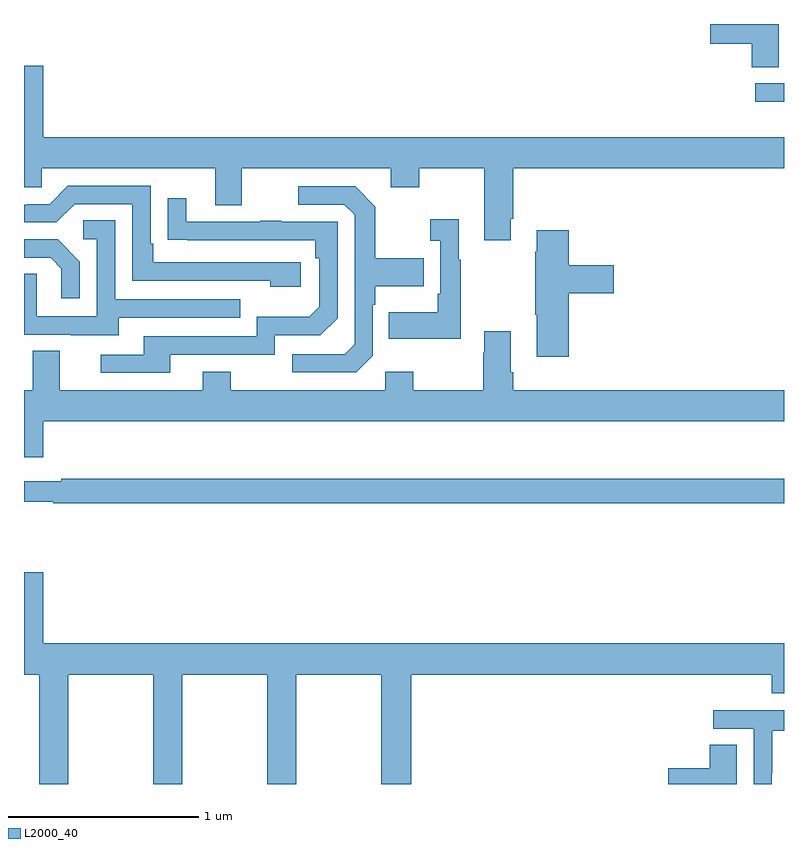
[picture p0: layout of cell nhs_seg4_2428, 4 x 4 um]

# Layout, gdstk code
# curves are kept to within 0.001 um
import gdstk
lib = gdstk.Library(unit=1e-6, precision=1e-09)
def R(c, l, rs):  # rectangles x0, y0, x1, y1
    for r in rs: c.add(gdstk.rectangle(r[:2], r[2:], *l))
def P(c, l, *ps):  # polygons
    for p in ps: c.add(gdstk.Polygon(p, *l))
L2000_40 = (2000, 40)

nhs_seg4_2428 = lib.new_cell('nhs_seg4_2428')
R(nhs_seg4_2428, L2000_40, [(240.849,810.492,241,810.588)])
P(nhs_seg4_2428, L2000_40, [(240.973,810.9),(240.612,810.9),(240.612,810.797),(240.83,810.797),(240.83,810.673),(240.973,810.673)],
  [(239.563,809.875),(239.576,809.875),(239.576,810.14),(241,810.14),(241,810.304),(237.1,810.304),(237.1,810.679),(237,810.679),(237,810.042),(237.093,810.042),(237.093,810.14),(238.007,810.14),(238.007,809.946),(238.147,809.946),(238.147,810.14),(238.931,810.14),(238.931,810.041),(239.079,810.041),(239.079,810.14),(239.423,810.14),(239.423,809.763),(239.563,809.763)],
  [(238.456,809.646),(237.679,809.646),(237.679,809.743),(237.666,809.743),(237.666,810.048),(237.231,810.048),(237.135,809.952),(237.017,809.952),(237.017,809.949),(237,809.949),(237,809.856),(237.171,809.856),(237.267,809.952),(237.57,809.952),(237.57,809.55),(238.295,809.55),(238.295,809.516),(238.456,809.516)],
  [(238.836,809.154),(238.836,809.423),(238.849,809.423),(238.849,809.519),(239.105,809.519),(239.105,809.667),(238.849,809.667),(238.849,809.939),(238.743,810.045),(238.443,810.045),(238.443,809.949),(238.686,809.949),(238.74,809.895),(238.74,809.214),(238.689,809.163),(238.413,809.163),(238.413,809.067),(238.749,809.067)],
  [(237.769,809.16),(238.32,809.16),(238.32,809.262),(238.56,809.262),(238.65,809.352),(238.65,809.859),(238.355,809.859),(238.355,809.864),(238.243,809.864),(238.243,809.859),(237.853,809.859),(237.853,809.983),(237.757,809.983),(237.757,809.764),(238.534,809.763),(238.534,809.666),(238.554,809.666),(238.554,809.412),(238.501,809.359),(238.224,809.359),(238.224,809.256),(237.629,809.256),(237.629,809.16),(237.405,809.16),(237.405,809.064),(237.769,809.064)],
  [(239.299,809.659),(239.287,809.659),(239.287,809.872),(239.139,809.872),(239.139,809.759),(239.19,809.759),(239.19,809.479),(239.178,809.479),(239.178,809.383),(238.921,809.383),(238.921,809.243),(239.299,809.243)],
  [(237.499,809.355),(238.139,809.355),(238.139,809.451),(237.48,809.451),(237.48,809.867),(237.312,809.867),(237.312,809.766),(237.384,809.766),(237.384,809.361),(237.066,809.361),(237.066,809.585),(237,809.585),(237,809.265),(237.245,809.265),(237.245,809.261),(237.499,809.261)],
  [(239.867,809.483),(240.103,809.483),(240.103,809.63),(239.867,809.63),(239.867,809.815),(239.699,809.815),(239.699,809.702),(239.692,809.702),(239.692,809.371),(239.699,809.371),(239.699,809.148),(239.867,809.148)],
  [(237.294,809.65),(237.178,809.766),(237,809.766),(237,809.67),(237.14,809.67),(237.197,809.613),(237.197,809.457),(237.294,809.457)],
  [(237.1,808.808),(241,808.808),(241,808.972),(239.576,808.972),(239.576,809.068),(239.563,809.068),(239.563,809.284),(239.423,809.284),(239.423,809.171),(239.416,809.171),(239.416,808.972),(239.049,808.972),(239.049,809.071),(238.902,809.071),(238.902,808.972),(238.089,808.972),(238.089,809.071),(237.941,809.071),(237.941,808.972),(237.187,808.972),(237.187,809.18),(237.047,809.18),(237.047,808.972),(237,808.972),(237,808.62),(237.1,808.62)],
  [(241,808.507),(237.196,808.507),(237.196,808.494),(237,808.494),(237,808.386),(237.154,808.386),(237.154,808.378),(241,808.378)],
  [(237.234,807.476),(237.679,807.476),(237.679,806.9),(237.834,806.9),(237.834,807.476),(238.279,807.476),(238.279,806.9),(238.434,806.9),(238.434,807.476),(238.879,807.476),(238.879,806.9),(239.039,806.9),(239.039,807.476),(240.935,807.476),(240.935,807.377),(241,807.377),(241,807.64),(237.1,807.64),(237.1,808.015),(237,808.015),(237,807.476),(237.079,807.476),(237.079,806.9),(237.234,806.9)],
  [(240.936,806.956),(240.939,806.956),(240.939,807.18),(241,807.18),(241,807.288),(240.627,807.288),(240.627,807.192),(240.84,807.192),(240.84,806.9),(240.936,806.9)],
  [(240.751,807.107),(240.608,807.107),(240.608,806.984),(240.39,806.984),(240.39,806.9),(240.751,806.9)])

lib.write_gds('nhs_seg4_2428.gds')
